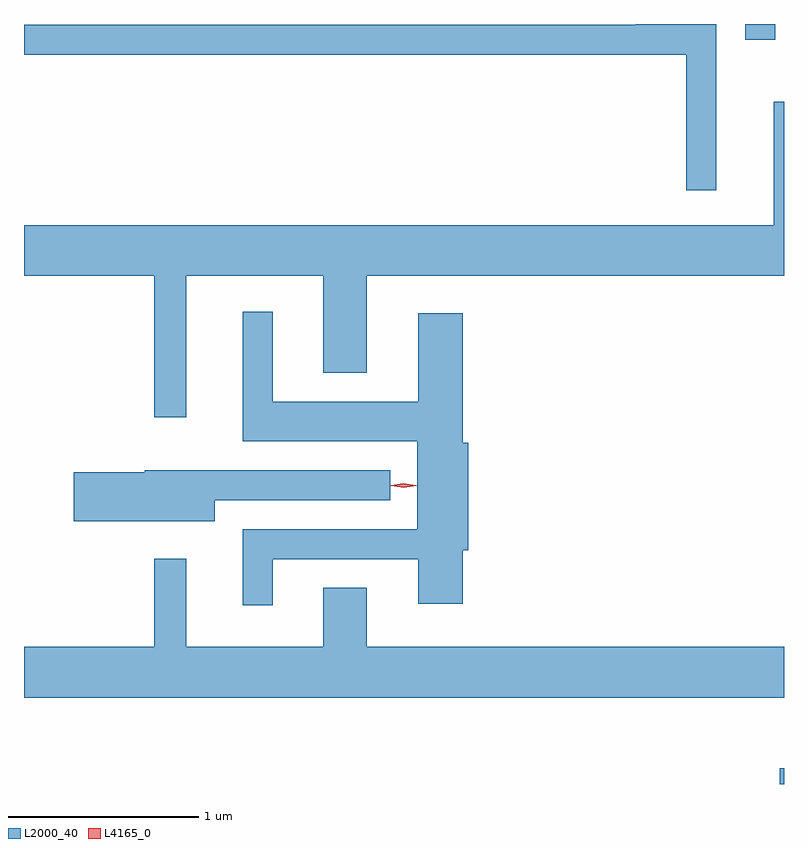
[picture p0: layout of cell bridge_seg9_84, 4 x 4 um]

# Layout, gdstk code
import gdstk
lib = gdstk.Library(unit=1e-6, precision=1e-09)
def R(c, l, rs):  # rectangles x0, y0, x1, y1
    for r in rs: c.add(gdstk.rectangle(r[:2], r[2:], *l))
def P(c, l, *ps):  # polygons
    for p in ps: c.add(gdstk.Polygon(p, *l))
L2000_40 = (2000, 40)
L4165_0 = (4165, 0)

bridge_seg9_84 = lib.new_cell('bridge_seg9_84')
R(bridge_seg9_84, L2000_40, [(1802.983,1982.482,1803.005,1982.564), (1802.801,1986.398,1802.959,1986.482)])
P(bridge_seg9_84, L2000_40, [(1802.649,1986.482),(1802.226,1986.482),(1802.226,1986.479),(1799.005,1986.479),(1799.005,1986.321),(1802.491,1986.321),(1802.491,1985.608),(1802.649,1985.608)],
  [(1799.859,1985.156),(1800.581,1985.156),(1800.581,1984.646),(1800.809,1984.646),(1800.809,1985.156),(1803.005,1985.156),(1803.005,1986.073),(1802.951,1986.073),(1802.951,1985.424),(1799.005,1985.424),(1799.005,1985.156),(1799.691,1985.156),(1799.691,1984.413),(1799.859,1984.413)],
  [(1800.314,1983.666),(1801.081,1983.666),(1801.081,1983.431),(1801.314,1983.431),(1801.314,1983.711),(1801.344,1983.711),(1801.344,1984.279),(1801.314,1984.279),(1801.314,1984.959),(1801.081,1984.959),(1801.081,1984.494),(1800.314,1984.494),(1800.314,1984.968),(1800.156,1984.968),(1800.156,1984.286),(1801.076,1984.286),(1801.076,1983.824),(1800.156,1983.824),(1800.156,1983.423),(1800.314,1983.423)],
  [(1800.009,1983.976),(1800.933,1983.976),(1800.933,1984.134),(1799.64,1984.134),(1799.64,1984.124),(1799.266,1984.124),(1799.266,1983.866),(1800.009,1983.866)],
  [(1803.005,1983.204),(1800.809,1983.204),(1800.809,1983.514),(1800.581,1983.514),(1800.581,1983.204),(1799.859,1983.204),(1799.859,1983.668),(1799.691,1983.668),(1799.691,1983.204),(1799.005,1983.204),(1799.005,1982.936),(1803.005,1982.936)])
P(bridge_seg9_84, L4165_0, [(1801.003,1984.042),(1800.934,1984.051),(1800.934,1984.052),(1800.934,1984.052),(1801.003,1984.062),(1801.071,1984.052),(1801.072,1984.052),(1801.071,1984.051)],
  [(1801.002,1984.045),(1800.937,1984.054),(1800.937,1984.055),(1800.937,1984.055),(1801.002,1984.065),(1801.067,1984.055),(1801.067,1984.055),(1801.067,1984.054)])

lib.write_gds('bridge_seg9_84.gds')
